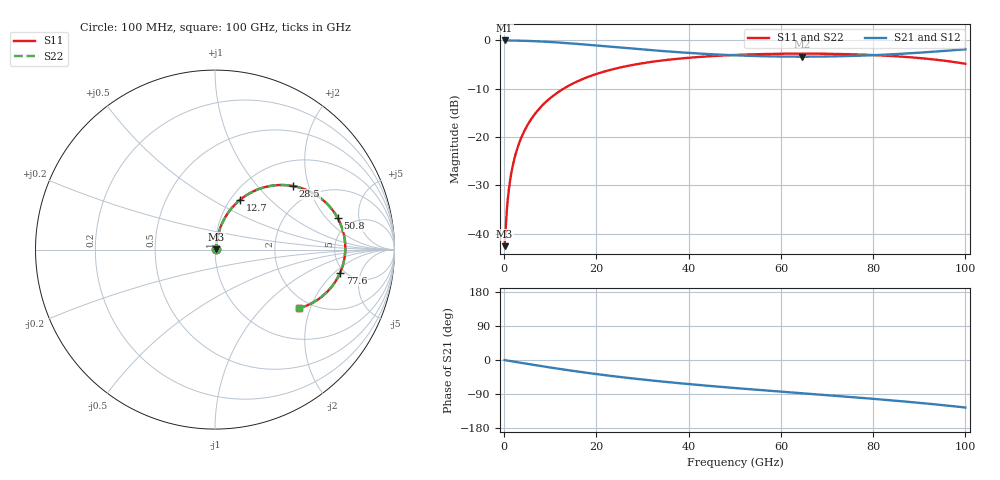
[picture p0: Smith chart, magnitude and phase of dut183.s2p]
! Touchstone file exported from HFSS 2026.1.0
!  File:  C:/ffzhzh/LocalFiles/Ansys_Project_Files/temp_train_RDL_183_1783500420_44152.aedt
!  Generated:  04:48:14 PM Jul  8, 2026
!  Design:  RDL
!  Project:  temp_train_RDL_183_1783500420_44152
! Variables:
!  h_bsmrdl = 2um
!  h_ox = 20um
!  h_rdl = 5um
!  h_sub = 80um
!  h_tmrdl = 2.22um
!  h_tsv = 80um
!  h_via = 3um
!  l_bsmrdl = 300um
!  l_sub = 847.87um
!  l_tmrdl = 447.87um
!  m_sub = 200um
!  pitch = 43.86um
!  r_tsv = 6um
!  s_tmrdl = 10um
!  w_bsmrdl = 18um
!  w_sub = 500um
!  w_tmrdl = 10.41um
!  x_tsv_center1 = 453.075um
!  x_tsv_center2 = 771.075um
!  x_tsv_center3 = 1229.355um
!  x_tsv_center4 = 1547.355um
!  x_tsv_center5 = 2005.635um
!  x_tsv_center6 = 2323.635um
# GHz S MA R 50.000000
! Terminal data exported
! Port[1] = TM_RDL1_1_T1
! Port[2] = TM_RDL1_1_T2
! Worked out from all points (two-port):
!   1000 points, 100 MHz to 100 GHz, reference 50 ohm
!   highest |S21| = -0.06 dB at 100 MHz (marker M1); lowest = -3.4 dB at 64.6 GHz (marker M2)
!   |S21| within 3 dB of the highest: start of sweep to 48.27 GHz; 81.03 GHz to end of sweep
!   lowest |S11| = -42.5 dB at 100 MHz (marker M3), VSWR 1.02, Z = 50.7 + j0.278 ohm
!   |S11| at or under -10 dB: start of sweep to 12.91 GHz
!   |S22| runs from -42.5 to -2.8 dB; largest |S21 - S12| = 1.5e-14
!   S11 on the Smith chart (normalised r, x): 100 MHz: 1.01, +0.01; 12.7 GHz: 1.11, +0.68; 28.5 GHz: 1.54, +1.60; 50.8 GHz: 3.84, +2.68; 77.6 GHz: 4.60, -2.38; 100 GHz: 1.72, -1.67
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0.1  0.007458 21.6  0.9931 -0.2  0.9931 -0.2  0.007458 21.6
! Gamma 0 0 0 0
! Port Impedance 50 0 50 0
0.4  0.0131 56.5  0.9929 -0.8  0.9929 -0.8  0.0131 56.5
1  0.02816 72.4  0.9921 -2.1  0.9921 -2.1  0.02816 72.4
1.5  0.04107 75.9  0.9914 -3.1  0.9914 -3.1  0.04107 75.9
2.4  0.06439 77.8  0.9898 -4.9  0.9898 -4.9  0.06439 77.8
3.5  0.09282 77.6  0.9873 -7.1  0.9873 -7.1  0.09282 77.6
5.1  0.1337 75.9  0.9822 -10.3  0.9822 -10.3  0.1337 75.9
7.2  0.186 72.6  0.9732 -14.5  0.9732 -14.5  0.186 72.6
9.7  0.2454 68.4  0.9593 -19.2  0.9593 -19.2  0.2454 68.4
12.7  0.3117 63.2  0.9391 -24.8  0.9391 -24.8  0.3117 63.2
16.8  0.3925 56.3  0.9074 -31.9  0.9074 -31.9  0.3925 56.3
22.4  0.4843 47.6  0.8614 -40.9  0.8614 -40.9  0.4842 47.6
28.5  0.5618 39.1  0.8131 -49.5  0.8131 -49.5  0.5618 39.0
33.4  0.6098 32.9  0.7783 -55.8  0.7783 -55.8  0.6097 32.9
50.1  0.7038 15.0  0.6971 -74.0  0.6971 -74.0  0.7038 15.0
50.8  0.706 14.4  0.695 -74.7  0.695 -74.7  0.7059 14.4
64.6  0.7262 1.6  0.6751 -87.8  0.6751 -87.8  0.7261 1.6
66.7  0.7259 -0.3  0.6756 -89.7  0.6756 -89.7  0.7258 -0.3
77.6  0.7092 -10.4  0.6925 -100.1  0.6925 -100.1  0.7091 -10.4
83.4  0.689 -16.1  0.7118 -105.9  0.7118 -105.9  0.6889 -16.1
91.5  0.6442 -24.8  0.7506 -114.8  0.7506 -114.8  0.6441 -24.7
100  0.5703 -35.0  0.8052 -125.4  0.8052 -125.4  0.5702 -34.9
